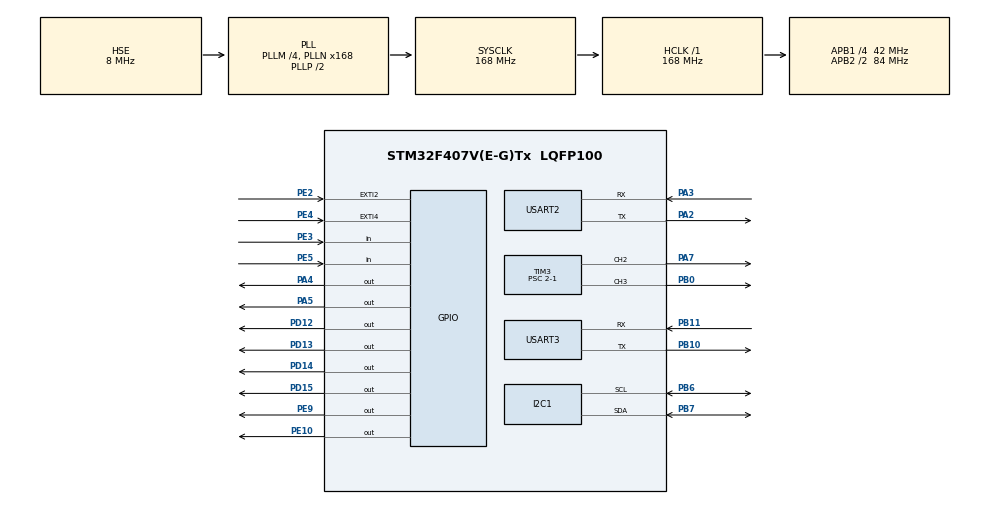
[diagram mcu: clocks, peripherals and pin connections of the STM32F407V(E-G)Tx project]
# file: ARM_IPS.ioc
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Dma.I2C1_RX.0.Direction=DMA_PERIPH_TO_MEMORY
Dma.I2C1_RX.0.FIFOMode=DMA_FIFOMODE_DISABLE
Dma.I2C1_RX.0.Instance=DMA1_Stream0
Dma.I2C1_RX.0.MemDataAlignment=DMA_MDATAALIGN_BYTE
Dma.I2C1_RX.0.MemInc=DMA_MINC_ENABLE
Dma.I2C1_RX.0.Mode=DMA_NORMAL
Dma.I2C1_RX.0.PeriphDataAlignment=DMA_PDATAALIGN_BYTE
Dma.I2C1_RX.0.PeriphInc=DMA_PINC_DISABLE
Dma.I2C1_RX.0.Priority=DMA_PRIORITY_LOW
Dma.Request0=I2C1_RX
I2C1.I2C_Mode=I2C_Fast
Mcu.Family=STM32F4
Mcu.Name=STM32F407V(E-G)Tx
Mcu.Package=LQFP100
NVIC.DMA1_Stream0_IRQn=true\:6\:0\:true\:false\:true\:false\:true
NVIC.EXTI2_IRQn=true\:0\:0\:false\:false\:true\:true\:true
NVIC.EXTI4_IRQn=true\:0\:0\:false\:false\:true\:true\:true
NVIC.PriorityGroup=NVIC_PRIORITYGROUP_4
NVIC.USART2_IRQn=true\:7\:0\:true\:false\:true\:true\:true
NVIC.USART3_IRQn=true\:5\:0\:true\:false\:true\:true\:true
PA13.Mode=Serial_Wire
PA13.Signal=SYS_JTMS-SWDIO
PA14.Mode=Serial_Wire
PA14.Signal=SYS_JTCK-SWCLK
PA2.Mode=Asynchronous
PA2.Signal=USART2_TX
PA3.Mode=Asynchronous
PA3.Signal=USART2_RX
PA4.Signal=GPIO_Output
PA5.Signal=GPIO_Output
PA7.GPIO_Speed=GPIO_SPEED_FREQ_VERY_HIGH
PA7.Signal=S_TIM3_CH2
PB0.GPIO_Speed=GPIO_SPEED_FREQ_VERY_HIGH
PB0.Signal=S_TIM3_CH3
PB10.Mode=Asynchronous
PB10.Signal=USART3_TX
PB11.Mode=Asynchronous
PB11.Signal=USART3_RX
PB6.Mode=I2C
PB6.Signal=I2C1_SCL
PB7.Mode=I2C
PB7.Signal=I2C1_SDA
PD12.Signal=GPIO_Output
PD13.Signal=GPIO_Output
PD14.Signal=GPIO_Output
PD15.Signal=GPIO_Output
PE10.Signal=GPIO_Output
PE2.Signal=GPXTI2
PE3.Signal=GPIO_Input
PE4.Signal=GPXTI4
PE5.Signal=GPIO_Input
PE9.Signal=GPIO_Output
PH0-OSC_IN.Mode=HSE-External-Oscillator
PH0-OSC_IN.Signal=RCC_OSC_IN
PH1-OSC_OUT.Mode=HSE-External-Oscillator
PH1-OSC_OUT.Signal=RCC_OSC_OUT
ProjectManager.HeapSize=0x200
ProjectManager.StackSize=0x400
ProjectManager.TargetToolchain=MDK-ARM V5
RCC.48MHZClocksFreq_Value=84000000
RCC.AHBFreq_Value=168000000
RCC.APB1CLKDivider=RCC_HCLK_DIV4
RCC.APB1Freq_Value=42000000
RCC.APB1TimFreq_Value=84000000
RCC.APB2CLKDivider=RCC_HCLK_DIV2
RCC.APB2Freq_Value=84000000
RCC.APB2TimFreq_Value=168000000
RCC.CortexFreq_Value=168000000
RCC.HCLKFreq_Value=168000000
RCC.HSE_VALUE=8000000
RCC.HSI_VALUE=16000000
RCC.LSE_VALUE=32768
RCC.PLLM=4
RCC.PLLN=168
RCC.PLLSourceVirtual=RCC_PLLSOURCE_HSE
RCC.SYSCLKFreq_VALUE=168000000
RCC.SYSCLKSource=RCC_SYSCLKSOURCE_PLLCLK
RCC.VCOOutputFreq_Value=336000000
SH.S_TIM3_CH2.0=TIM3_CH2,PWM Generation2 CH2
SH.S_TIM3_CH3.0=TIM3_CH3,PWM Generation3 CH3
TIM3.Channel-PWM\ Generation2\ CH2=TIM_CHANNEL_2
TIM3.Channel-PWM\ Generation3\ CH3=TIM_CHANNEL_3
TIM3.Period=1680-1
TIM3.Prescaler=2-1
TIM3.Pulse-PWM\ Generation2\ CH2=1200
TIM3.Pulse-PWM\ Generation3\ CH3=1200
USART2.VirtualMode=VM_ASYNC
USART3.VirtualMode=VM_ASYNC
VP_TIM3_VS_ClockSourceINT.Mode=Internal
board=custom

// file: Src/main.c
/* USER CODE BEGIN Header */
/**
  ******************************************************************************
  * @file           : main.c
  * @brief          : Main program body
  ******************************************************************************
  * @attention
  *
  * <h2><center>&copy; Copyright (c) 2020 STMicroelectronics.
  * All rights reserved.</center></h2>
  *
  * This software component is licensed by ST under BSD 3-Clause license,
  * the "License"; You may not use this file except in compliance with the
  * License. You may obtain a copy of the License at:
  *                        opensource.org/licenses/BSD-3-Clause
  *
  ******************************************************************************
  */
/* USER CODE END Header */

#include "main.h"

/* USER CODE BEGIN Includes */

/**** ESP-01 ****/
#include "ESP8266_HAL.h"
#include "UartRingbuffer_multi.h"

/**** Sensor ****/
#include "MPU9250.h"
#include "IPS.h"
#include "Encoder.h"

/* USER CODE END Includes */

I2C_HandleTypeDef hi2c1;
DMA_HandleTypeDef hdma_i2c1_rx;

TIM_HandleTypeDef htim3;

UART_HandleTypeDef huart2;
UART_HandleTypeDef huart3;

void SystemClock_Config(void);
static void MX_GPIO_Init(void);
static void MX_DMA_Init(void);
static void MX_I2C1_Init(void);
static void MX_TIM3_Init(void);
static void MX_USART2_UART_Init(void);
static void MX_USART3_UART_Init(void);

/* USER CODE BEGIN 0 */

//================== printf의 출력 모드를 설정해주는 함수====================
#define PUTCHAR_PROTOTYPE int fputc(int ch, FILE *f)  //for printf
PUTCHAR_PROTOTYPE
{
  HAL_UART_Transmit(&huart2, (uint8_t *)&ch, 1, 0xFFFF);
  return ch;
}
//-==================================================================

/**** ESP-01 ****/
UART_HandleTypeDef *wifi_uart = &huart3;
UART_HandleTypeDef *pc_uart = &huart2;
char Link_ID;
char Server_Data;
volatile uint8_t flag_ISR;
volatile uint8_t state;

/**** MPU9250 ****/
float bias_accel[3];
uint8_t rawdata[14];

/**** PID control ****/
volatile int encoderL_Count_F;
volatile int encoderL_Count_B;
volatile int encoderR_Count_F;
volatile int encoderR_Count_B;
float kp, ki, kd;
float setpoint, sampletime;
bool result;
float output_L, output_R;

/**** main value ****/
float distance_dt;
float angle_dt;
float angle_enco;
float distance_enco;
volatile float angle_mpu;
float x_axis1;
float y_axis1;
float x_axis2;
float y_axis2;
int value1;
int value2;
int value3;
int value4;

/* USER CODE END 0 */

int main(void)
{
  /* USER CODE BEGIN 1 */

	/**** MPU9250 ****/
	MPU_ConfigTypeDef   myMPUConfig;
	uint8_t Dev_ADDR;
	uint8_t ReadData[2];

  /* USER CODE END 1 */

  /* MCU Configuration--------------------------------------------------------*/

  /* Reset of all peripherals, Initializes the Flash interface and the Systick. */
  HAL_Init();

  /* Configure the system clock */
  SystemClock_Config();

  /* Initialize all configured peripherals */
  MX_GPIO_Init();
  MX_DMA_Init();
  MX_I2C1_Init();
  MX_TIM3_Init();
  MX_USART2_UART_Init();
  MX_USART3_UART_Init();
  /* USER CODE BEGIN 2 */

	/**** ESP-01 ****/
	HAL_TIM_PWM_Start(&htim3, TIM_CHANNEL_2); // CH1 Output Pin : PA7
	HAL_TIM_PWM_Start(&htim3, TIM_CHANNEL_3); // CH2 Output Pin : PB0

	ESP_Init(wifi_uart, "SK_WiFi815A","1501070647", MODE_STA);	 // MODE_STA : ESP Client mode, MODE_AP : ESP Host mode

	for (int i=0; i<6; i++)
	{
		HAL_GPIO_TogglePin(GPIOD, GPIO_PIN_12);
		HAL_GPIO_TogglePin(GPIOD, GPIO_PIN_13);
		HAL_GPIO_TogglePin(GPIOD, GPIO_PIN_14);
		HAL_GPIO_TogglePin(GPIOD, GPIO_PIN_15);

		HAL_Delay(500);
	}
	/****************/

	/**** MPU9250 ****/
	MPU9250_Init(&hi2c1);

	Dev_ADDR = MPU9250_ADDRESS_AD0 << 1;
	ReadData[0] = 0;
	HAL_I2C_Mem_Read(&hi2c1, Dev_ADDR, WHO_AM_I_MPU9250, I2C_MEMADD_SIZE_8BIT, &ReadData[0], 1, 100);

	if(ReadData[0] == 0x71)
	{
		myMPUConfig.ClockSource = Auto_best_clk_1;
		myMPUConfig.CONFIG_DLPF = DLPF_41G_42T_Hz;
    myMPUConfig.ACCEL_DLPF = DLPF_44A_Hz;
		myMPUConfig.Ascale = AFS_2G;
		myMPUConfig.Gscale = GFS_250DPS;
		MPU9250_Config(&myMPUConfig);

		accelCalibrate(bias_accel);

		for (int i=0; i<4; i++)
		{
			HAL_GPIO_TogglePin(GPIOD, GPIO_PIN_12);
			HAL_GPIO_TogglePin(GPIOD, GPIO_PIN_13);
			HAL_GPIO_TogglePin(GPIOD, GPIO_PIN_14);
			HAL_GPIO_TogglePin(GPIOD, GPIO_PIN_15);

			HAL_Delay(100);
		}
	}
	else
	{
		while(1)
		{
			HAL_GPIO_TogglePin(GPIOD, GPIO_PIN_12);
			HAL_GPIO_TogglePin(GPIOD, GPIO_PIN_13);
			HAL_GPIO_TogglePin(GPIOD, GPIO_PIN_14);
			HAL_GPIO_TogglePin(GPIOD, GPIO_PIN_15);
			HAL_Delay(100);
		}
	}
	/****************/

	/**** PID ****/
	kp = 2.0f;
	//ki = 0.1f;  // I제어를 현재의 프로세서에서 사용하는것은 부적절
	ki = 0.0f;
	kd = 0.6f;
	setpoint = 30;  // Velocity : 30[cm/s]
	sampletime = 0.02f;
	pidInit(kp, ki, kd, setpoint, sampletime);

	// Variables for Algorithms
	float dt_mpu = 0;
	float dt_encoder = 0;
	float dt_angle = 0;
	float temp_mpu = 0;
	float sub = 0;
	float rate = 0;
	float angle = 0;
	int count = 0;

  /* USER CODE END 2 */

  /* Infinite loop */
  while (1)
  {

    /* USER CODE BEGIN 3 */

		/**** PID control ****/
		result = pidValue(encoderL_Count_F, encoderL_Count_B, encoderR_Count_F, encoderR_Count_B, state);
    if (result)
		{
			kp = 1.2f;
			pidCompute(&output_L, &output_R, kp);
			pidSetPWM(output_L, output_R, state);
			encoderLocate(&angle_dt, &distance_dt);
		}

		/**** Angle Correction Algorithm (using gyro and encoder) ****/
		dt_encoder = angle_dt;
		if (temp_mpu != 0) dt_mpu = angle_mpu - temp_mpu;
		temp_mpu = angle_mpu;

		sub = fabs(dt_mpu - dt_encoder);
		if (sub >= 1) dt_angle = dt_mpu;
		else if (sub < 1)
		{
			if ( sub <= 0.3 ) 								 rate = 0;
			else if( sub > 0.3 && sub <= 0.7 ) rate = sub / (0.7 - 0.3);
			else 															 rate = 1;
			dt_angle = dt_encoder * (1 - rate) + dt_mpu * rate;
		}
		angle += dt_angle;

		/**** Calculate Location ****/
		distance_enco += distance_dt;
		angle_enco += angle_dt;
		if (angle_enco > 360) angle_enco -= 360;
		else if ( angle_enco < -360) angle_enco += 360;
//		x_axis1 += distance_dt * cos(angle_enco*rad);
//		y_axis1 += distance_dt * sin(angle_enco*rad);
		x_axis1 += distance_dt * cos(angle*rad);
		y_axis1 += distance_dt * sin(angle*rad);
		x_axis2 += distance_dt * cos(angle_mpu*rad);
		y_axis2 += distance_dt * sin(angle_mpu*rad);
		angle_dt = 0;
		distance_dt = 0;

		/**** Location Transmit to PC ****/
		value1 = x_axis1; // X-axis of Algorithm
		value2 = y_axis1; // Y-axis of Algorithm
		value3 = x_axis2; // X-axis of Gyro
		value4 = y_axis2; // Y-axis of Gyro
		ESP_wifi_start((uint8_t *)&flag_ISR, value1, value2, value3, value4);  // DB에 송신시 실수형보다 정수형을 보내는 것이 좋다!

		/**** MPU9250 DMA Recive ****/
		HAL_I2C_Mem_Read_DMA(&hi2c1, Dev_ADDR, ACCEL_XOUT_H, I2C_MEMADD_SIZE_8BIT, (uint8_t *)rawdata, 14);

		HAL_Delay(20);
  }
  /* USER CODE END 3 */
}

void SystemClock_Config(void)
{
  RCC_OscInitTypeDef RCC_OscInitStruct = {0};
  RCC_ClkInitTypeDef RCC_ClkInitStruct = {0};

  /** Configure the main internal regulator output voltage
  */
  __HAL_RCC_PWR_CLK_ENABLE();
  __HAL_PWR_VOLTAGESCALING_CONFIG(PWR_REGULATOR_VOLTAGE_SCALE1);
  /** Initializes the CPU, AHB and APB busses clocks
  */
  RCC_OscInitStruct.OscillatorType = RCC_OSCILLATORTYPE_HSE;
  RCC_OscInitStruct.HSEState = RCC_HSE_ON;
  RCC_OscInitStruct.PLL.PLLState = RCC_PLL_ON;
  RCC_OscInitStruct.PLL.PLLSource = RCC_PLLSOURCE_HSE;
  RCC_OscInitStruct.PLL.PLLM = 4;
  RCC_OscInitStruct.PLL.PLLN = 168;
  RCC_OscInitStruct.PLL.PLLP = RCC_PLLP_DIV2;
  RCC_OscInitStruct.PLL.PLLQ = 4;
  if (HAL_RCC_OscConfig(&RCC_OscInitStruct) != HAL_OK)
  {
    Error_Handler();
  }
  /** Initializes the CPU, AHB and APB busses clocks
  */
  RCC_ClkInitStruct.ClockType = RCC_CLOCKTYPE_HCLK|RCC_CLOCKTYPE_SYSCLK
                              |RCC_CLOCKTYPE_PCLK1|RCC_CLOCKTYPE_PCLK2;
  RCC_ClkInitStruct.SYSCLKSource = RCC_SYSCLKSOURCE_PLLCLK;
  RCC_ClkInitStruct.AHBCLKDivider = RCC_SYSCLK_DIV1;
  RCC_ClkInitStruct.APB1CLKDivider = RCC_HCLK_DIV4;
  RCC_ClkInitStruct.APB2CLKDivider = RCC_HCLK_DIV2;

  if (HAL_RCC_ClockConfig(&RCC_ClkInitStruct, FLASH_LATENCY_5) != HAL_OK)
  {
    Error_Handler();
  }
}

static void MX_I2C1_Init(void)
{

  hi2c1.Instance = I2C1;
  hi2c1.Init.ClockSpeed = 400000;
  hi2c1.Init.DutyCycle = I2C_DUTYCYCLE_2;
  hi2c1.Init.OwnAddress1 = 0;
  hi2c1.Init.AddressingMode = I2C_ADDRESSINGMODE_7BIT;
  hi2c1.Init.DualAddressMode = I2C_DUALADDRESS_DISABLE;
  hi2c1.Init.OwnAddress2 = 0;
  hi2c1.Init.GeneralCallMode = I2C_GENERALCALL_DISABLE;
  hi2c1.Init.NoStretchMode = I2C_NOSTRETCH_DISABLE;
  if (HAL_I2C_Init(&hi2c1) != HAL_OK)
  {
    Error_Handler();
  }

}

static void MX_TIM3_Init(void)
{

  TIM_ClockConfigTypeDef sClockSourceConfig = {0};
  TIM_MasterConfigTypeDef sMasterConfig = {0};
  TIM_OC_InitTypeDef sConfigOC = {0};

  htim3.Instance = TIM3;
  htim3.Init.Prescaler = 2-1;
  htim3.Init.CounterMode = TIM_COUNTERMODE_UP;
  htim3.Init.Period = 1680-1;
  htim3.Init.ClockDivision = TIM_CLOCKDIVISION_DIV1;
  htim3.Init.AutoReloadPreload = TIM_AUTORELOAD_PRELOAD_DISABLE;
  if (HAL_TIM_Base_Init(&htim3) != HAL_OK)
  {
    Error_Handler();
  }
  sClockSourceConfig.ClockSource = TIM_CLOCKSOURCE_INTERNAL;
  if (HAL_TIM_ConfigClockSource(&htim3, &sClockSourceConfig) != HAL_OK)
  {
    Error_Handler();
  }
  if (HAL_TIM_PWM_Init(&htim3) != HAL_OK)
  {
    Error_Handler();
  }
  sMasterConfig.MasterOutputTrigger = TIM_TRGO_RESET;
  sMasterConfig.MasterSlaveMode = TIM_MASTERSLAVEMODE_DISABLE;
  if (HAL_TIMEx_MasterConfigSynchronization(&htim3, &sMasterConfig) != HAL_OK)
  {
    Error_Handler();
  }
  sConfigOC.OCMode = TIM_OCMODE_PWM1;
  sConfigOC.Pulse = 1200;
  sConfigOC.OCPolarity = TIM_OCPOLARITY_HIGH;
  sConfigOC.OCFastMode = TIM_OCFAST_DISABLE;
  if (HAL_TIM_PWM_ConfigChannel(&htim3, &sConfigOC, TIM_CHANNEL_2) != HAL_OK)
  {
    Error_Handler();
  }
  if (HAL_TIM_PWM_ConfigChannel(&htim3, &sConfigOC, TIM_CHANNEL_3) != HAL_OK)
  {
    Error_Handler();
  }
  HAL_TIM_MspPostInit(&htim3);

}

static void MX_USART2_UART_Init(void)
{

  huart2.Instance = USART2;
  huart2.Init.BaudRate = 115200;
  huart2.Init.WordLength = UART_WORDLENGTH_8B;
  huart2.Init.StopBits = UART_STOPBITS_1;
  huart2.Init.Parity = UART_PARITY_NONE;
  huart2.Init.Mode = UART_MODE_TX_RX;
  huart2.Init.HwFlowCtl = UART_HWCONTROL_NONE;
  huart2.Init.OverSampling = UART_OVERSAMPLING_16;
  if (HAL_UART_Init(&huart2) != HAL_OK)
  {
    Error_Handler();
  }

}

static void MX_USART3_UART_Init(void)
{

  huart3.Instance = USART3;
  huart3.Init.BaudRate = 115200;
  huart3.Init.WordLength = UART_WORDLENGTH_8B;
  huart3.Init.StopBits = UART_STOPBITS_1;
  huart3.Init.Parity = UART_PARITY_NONE;
  huart3.Init.Mode = UART_MODE_TX_RX;
  huart3.Init.HwFlowCtl = UART_HWCONTROL_NONE;
  huart3.Init.OverSampling = UART_OVERSAMPLING_16;
  if (HAL_UART_Init(&huart3) != HAL_OK)
  {
    Error_Handler();
  }

}

static void MX_DMA_Init(void)
{

  /* DMA controller clock enable */
  __HAL_RCC_DMA1_CLK_ENABLE();

  /* DMA interrupt init */
  /* DMA1_Stream0_IRQn interrupt configuration */
  HAL_NVIC_SetPriority(DMA1_Stream0_IRQn, 6, 0);
  HAL_NVIC_EnableIRQ(DMA1_Stream0_IRQn);

}

static void MX_GPIO_Init(void)
{
  GPIO_InitTypeDef GPIO_InitStruct = {0};

  /* GPIO Ports Clock Enable */
  __HAL_RCC_GPIOE_CLK_ENABLE();
  __HAL_RCC_GPIOH_CLK_ENABLE();
  __HAL_RCC_GPIOA_CLK_ENABLE();
  __HAL_RCC_GPIOB_CLK_ENABLE();
  __HAL_RCC_GPIOD_CLK_ENABLE();

  /*Configure GPIO pin Output Level */
  HAL_GPIO_WritePin(GPIOA, GPIO_PIN_4|GPIO_PIN_5, GPIO_PIN_RESET);

  /*Configure GPIO pin Output Level */
  HAL_GPIO_WritePin(GPIOE, GPIO_PIN_9|GPIO_PIN_10, GPIO_PIN_RESET);

  /*Configure GPIO pin Output Level */
  HAL_GPIO_WritePin(GPIOD, GPIO_PIN_12|GPIO_PIN_13|GPIO_PIN_14|GPIO_PIN_15, GPIO_PIN_RESET);

  /*Configure GPIO pins : PE2 PE4 */
  GPIO_InitStruct.Pin = GPIO_PIN_2|GPIO_PIN_4;
  GPIO_InitStruct.Mode = GPIO_MODE_IT_RISING;
  GPIO_InitStruct.Pull = GPIO_NOPULL;
  HAL_GPIO_Init(GPIOE, &GPIO_InitStruct);

  /*Configure GPIO pins : PE3 PE5 */
  GPIO_InitStruct.Pin = GPIO_PIN_3|GPIO_PIN_5;
  GPIO_InitStruct.Mode = GPIO_MODE_INPUT;
  GPIO_InitStruct.Pull = GPIO_NOPULL;
  HAL_GPIO_Init(GPIOE, &GPIO_InitStruct);

  /*Configure GPIO pins : PA4 PA5 */
  GPIO_InitStruct.Pin = GPIO_PIN_4|GPIO_PIN_5;
  GPIO_InitStruct.Mode = GPIO_MODE_OUTPUT_PP;
  GPIO_InitStruct.Pull = GPIO_NOPULL;
  GPIO_InitStruct.Speed = GPIO_SPEED_FREQ_LOW;
  HAL_GPIO_Init(GPIOA, &GPIO_InitStruct);

  /*Configure GPIO pins : PE9 PE10 */
  GPIO_InitStruct.Pin = GPIO_PIN_9|GPIO_PIN_10;
  GPIO_InitStruct.Mode = GPIO_MODE_OUTPUT_PP;
  GPIO_InitStruct.Pull = GPIO_NOPULL;
  GPIO_InitStruct.Speed = GPIO_SPEED_FREQ_LOW;
  HAL_GPIO_Init(GPIOE, &GPIO_InitStruct);

  /*Configure GPIO pins : PD12 PD13 PD14 PD15 */
  GPIO_InitStruct.Pin = GPIO_PIN_12|GPIO_PIN_13|GPIO_PIN_14|GPIO_PIN_15;
  GPIO_InitStruct.Mode = GPIO_MODE_OUTPUT_PP;
  GPIO_InitStruct.Pull = GPIO_NOPULL;
  GPIO_InitStruct.Speed = GPIO_SPEED_FREQ_LOW;
  HAL_GPIO_Init(GPIOD, &GPIO_InitStruct);

  /* EXTI interrupt init*/
  HAL_NVIC_SetPriority(EXTI2_IRQn, 0, 0);
  HAL_NVIC_EnableIRQ(EXTI2_IRQn);

  HAL_NVIC_SetPriority(EXTI4_IRQn, 0, 0);
  HAL_NVIC_EnableIRQ(EXTI4_IRQn);

}

/* USER CODE BEGIN 4 */

void Uart_isr_RxCpltCallback(UART_HandleTypeDef *huart, char rxdata)
{
	uint8_t wifi_complet = 0;
	uint8_t ESP_error = 0;

	/** Print terminal Wifi all Recive data  **/
	/** Caution! Do not use during operation **/
//	Uart_sendstring(&rxdata, pc_uart);

	/** Check ESP transmit response data **/
	if ( Server_data_wait(rxdata) == 1 ) ESP_error = 1;
	if ( ESP_error )
	{
    __HAL_UART_DISABLE_IT(wifi_uart, UART_IT_RXNE);
		ESP_error = 0;
		flag_ISR = STATE_ERR;
		state    = STATE_ERR;
		return;
	}

	/** Check Wifi Receive Control data **/
	if ( Server_start_receive(&Link_ID, &Server_Data, rxdata) == 1 ) wifi_complet = 1;
	if ( wifi_complet )
	{
		Server_control(Server_Data);
		Server_id_close(Link_ID);
		wifi_complet = 0;
	}

	/** Flag set **/
	switch (Server_Data)
	{
		case 'F' :
			Server_Data = 0;
			flag_ISR = STATE_FORWARD;
			state    = STATE_FORWARD;
		  break;
		case 'B' :
			Server_Data =0;
			flag_ISR = STATE_BACKWARD;
			state    = STATE_BACKWARD;
			break;
		case 'L' :
			Server_Data =0;
			flag_ISR = STATE_ROTATION;
			state    = STATE_LEFT;
			break;
		case 'R' :
			Server_Data =0;
			flag_ISR = STATE_ROTATION;
			state    = STATE_RIGHT;
			break;
		case 'S' :
			Server_Data =0;
			flag_ISR = STATE_STOP;
			state    = STATE_STOP;
			break;
	}
	return;
}

void HAL_I2C_MemRxCpltCallback(I2C_HandleTypeDef *hi2c)
{
	float dt = 0;
	float accel[3] = {0,};
	float gyro[3]  = {0,};
	float angle_dt = 0;

	if (hi2c == &hi2c1)
	{
		/************ Calculate the position of a robot ************/
		readDMAData(rawdata, accel, gyro, &dt, bias_accel);

		angle_dt = getPatternData(gyro, accel, dt);

		angle_mpu += angle_dt;
		if (angle_mpu > 360) angle_mpu -= 360;
		else if ( angle_mpu < -360) angle_mpu += 360;
		/**********************************************************/
	}
}

void HAL_GPIO_EXTI_Callback(uint16_t GPIO_Pin)
{
	// Gear ratio = 48 : 1
	// 16 single pulse per 1 turn by motor shaft ( Rising edge + falling edge = 16)
	// 384 counts per 1 turn by wheel ( Rising edge : 48 * 8 = 384 / 390!!)
	if (GPIO_Pin == GPIO_PIN_2)
	{
		uint8_t encoderL = 0;
		char encoderL_Dir = 0;

		encoderL = HAL_GPIO_ReadPin(GPIOE, GPIO_PIN_3);
		if (encoderL == 0)
			encoderL_Dir = 'F';
		else if (encoderL == 1)
			encoderL_Dir = 'B';

		if(encoderL_Dir == 'F')
			encoderL_Count_F++;
		else if (encoderL_Dir == 'B')
			encoderL_Count_B++;
	}

	else if (GPIO_Pin == GPIO_PIN_4)
	{
		uint8_t encoderR = 0;
		char encoderR_Dir = 0;

		encoderR = HAL_GPIO_ReadPin(GPIOE, GPIO_PIN_5);
		if (encoderR == 0)
			encoderR_Dir = 'B';
		else if (encoderR == 1)
			encoderR_Dir = 'F';

		if(encoderR_Dir == 'F')
			encoderR_Count_F++;
		else if (encoderR_Dir == 'B')
			encoderR_Count_B++;
	}
}

/* USER CODE END 4 */

void Error_Handler(void)
{
}

/************************ (C) COPYRIGHT STMicroelectronics *****END OF FILE****/
